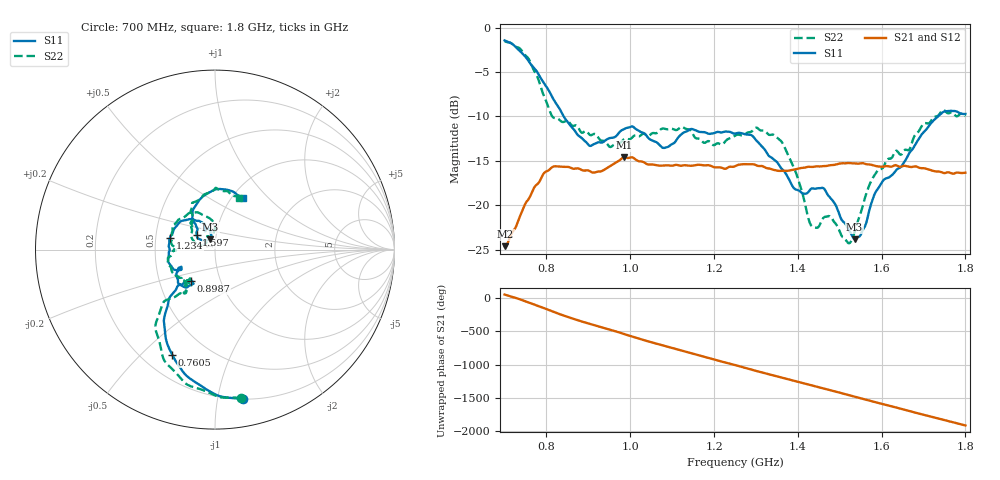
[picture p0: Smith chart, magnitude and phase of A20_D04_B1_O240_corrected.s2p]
! Created with skrf 1.9.0 (http://scikit-rf.org).
# Hz S RI R 50.0
!freq ReS11 ImS11 ReS21 ImS21 ReS12 ImS12 ReS22 ImS22
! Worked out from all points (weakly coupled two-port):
!   1601 points, 700 MHz to 1.8 GHz, reference 50 ohm
!   highest |S21| = -14.59 dB at 984.6 MHz (marker M1); lowest = -24.6 dB at 701.4 MHz (marker M2)
!   lowest |S11| = -23.8 dB at 1.535 GHz (marker M3), VSWR 1.14, Z = 47.1 + j5.51 ohm
!   |S11| at or under -10 dB: 841.1 MHz to 1.734 GHz (893.4 MHz wide, 69.4 % of centre)
!   |S22| runs from -24.3 to -1.5 dB; largest |S21 - S12| = 0.0034
!   S11 on the Smith chart (normalised r, x): 700 MHz: 0.20, -1.19; 760.5 MHz: 0.32, -0.62; 898.7 MHz: 0.72, -0.26; 1.234 GHz: 0.59, +0.08; 1.597 GHz: 0.81, +0.13; 1.8 GHz: 1.13, +0.72
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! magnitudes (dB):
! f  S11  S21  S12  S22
! 700 MHz  -1.4  -24.6  -24.4  -1.5
! 701.4 MHz  -1.5  -24.6  -24.3  -1.6
! 760.5 MHz  -4.0  -19.1  -18.9  -3.8
! 814.1 MHz  -7.9  -15.7  -15.7  -10.0
! 883.6 MHz  -12.4  -16.0  -15.9  -11.8
! 898.7 MHz  -13.1  -16.1  -16.1  -11.8
! 984.6 MHz  -11.4  -14.6  -14.7  -12.6
! 1.067 GHz  -13.1  -15.5  -15.5  -11.7
! 1.234 GHz  -11.7  -15.8  -15.8  -12.5
! 1.25 GHz  -11.9  -15.6  -15.5  -12.2
! 1.291 GHz  -12.2  -15.4  -15.4  -11.6
! 1.36 GHz  -15.8  -16.1  -16.1  -12.8
! 1.394 GHz  -18.2  -16.0  -15.9  -16.1
! 1.434 GHz  -18.1  -15.7  -15.7  -22.4
! 1.464 GHz  -18.2  -15.6  -15.6  -21.3
! 1.52 GHz  -22.7  -15.2  -15.3  -24.3
! 1.535 GHz  -23.8  -15.3  -15.3  -23.1
! 1.571 GHz  -20.5  -15.4  -15.4  -17.7
! 1.597 GHz  -17.7  -15.7  -15.6  -15.9
! 1.617 GHz  -16.9  -15.6  -15.6  -14.8
! 1.742 GHz  -9.7  -16.3  -16.2  -9.4
! 1.8 GHz  -9.7  -16.3  -16.3  -10.0
